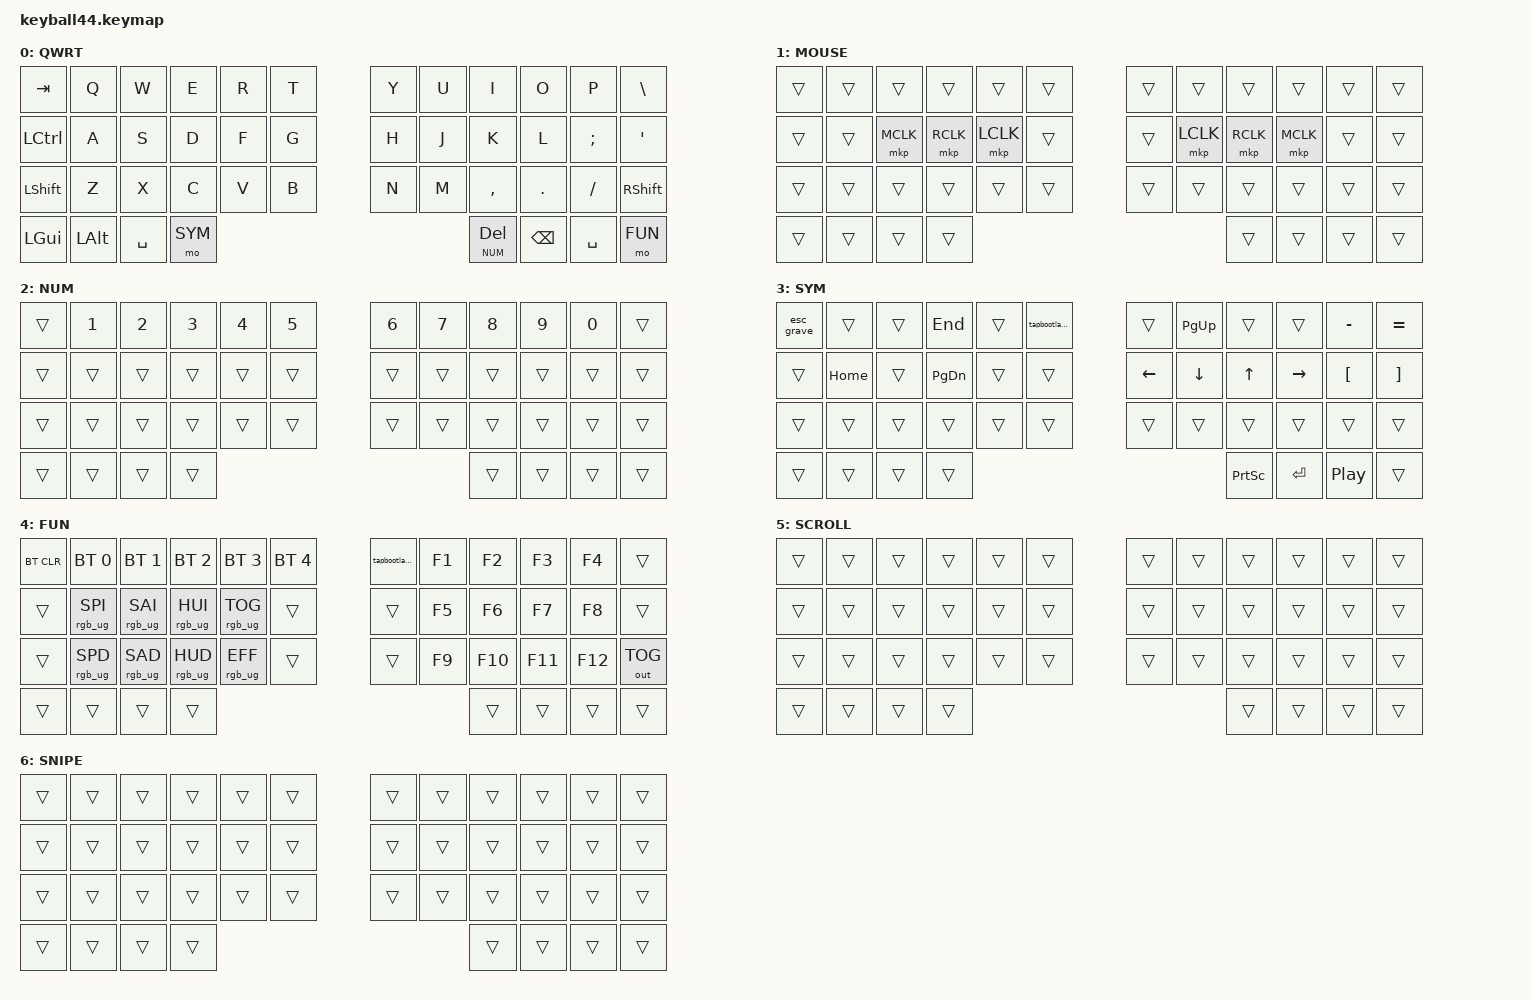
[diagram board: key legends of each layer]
#define DEFAULT 0
#define MOUSE   1
#define NUM     2
#define SYM     3
#define FUN     4
#define SCROLL  5
#define SNIPE   6

#include <behaviors/mouse_keys.dtsi>
#include <dt-bindings/zmk/mouse.h>
#include <behaviors.dtsi>
#include <dt-bindings/zmk/bt.h>
#include <dt-bindings/zmk/keys.h>
#include <dt-bindings/zmk/outputs.h>
#include <dt-bindings/zmk/pointing.h>
#include <dt-bindings/zmk/rgb.h>

&lt {
    tapping-term-ms = <240>;
    flavor = "balanced";
    quick-tap-ms = <150>;
};

&mt {
    tapping-term-ms = <200>;
    flavor = "tap-preferred";
    quick-tap-ms = <150>;
};

&caps_word { continue-list = <UNDERSCORE MINUS>; };

/ {
    // custom shift using mod-morph 

    behaviors {
        cmqus: comma_question {
            compatible = "zmk,behavior-mod-morph";
            label = "COMMA_QUESTION";
            #binding-cells = <0>;
            bindings = <&kp COMMA>, <&kp QUESTION>;

            mods = <(MOD_LSFT|MOD_RSFT)>;
        };

        dtsmi: dot_semi {
            compatible = "zmk,behavior-mod-morph";
            label = "DOT_SEMI";
            #binding-cells = <0>;
            bindings = <&kp DOT>, <&kp SEMI>;

            mods = <(MOD_LSFT|MOD_RSFT)>;
        };

        layer_dance: layer_dance {
            compatible = "zmk,behavior-tap-dance";
            label = "LAYER_DANCE";
            #binding-cells = <0>;
            bindings = <&mo SYM>, <&mo MOUSE>;

            tapping-term-ms = <100>;
        };

        esc_grave: esc_grave {
            compatible = "zmk,behavior-tap-dance";
            label = "ESC_GRAVE";
            #binding-cells = <0>;
            bindings = <&kp ESC>, <&kp GRAVE>;
        };

        tapbootlader: tapbootlader {
            compatible = "zmk,behavior-tap-dance";
            label = "TAPBOOTLADER";
            #binding-cells = <0>;
            bindings = <&none>, <&bootloader>;
        };
    };

    keymap {
        compatible = "zmk,keymap";

        default_layer {
            label = "QWRT";
            bindings = <
&kp TAB         &kp Q     &kp W      &kp E    &kp R        &kp T                     &kp Y      &kp U  &kp I      &kp O    &kp P      &kp BACKSLASH
&kp LCTRL       &kp A     &kp S      &kp D    &kp F        &kp G                     &kp H      &kp J  &kp K      &kp L    &kp SEMI   &kp SQT
&kp LEFT_SHIFT  &kp Z     &kp X      &kp C    &kp V        &kp B                     &kp N      &kp M  &kp COMMA  &kp DOT  &kp SLASH  &kp RIGHT_SHIFT
&kp LGUI        &kp LALT  &kp SPACE  &mo SYM  &lt NUM DEL             &kp BACKSPACE  &kp SPACE                                        &mo FUN
            >;
        };

        mouse_layer {
            label = "MOUSE";
            bindings = <
&trans  &trans  &trans     &trans     &trans     &trans              &trans  &trans     &trans     &trans     &trans  &trans
&trans  &trans  &mkp MCLK  &mkp RCLK  &mkp LCLK  &trans              &trans  &mkp LCLK  &mkp RCLK  &mkp MCLK  &trans  &trans
&trans  &trans  &trans     &trans     &trans     &trans              &trans  &trans     &trans     &trans     &trans  &trans
&trans  &trans  &trans     &trans     &trans                 &trans  &trans                                           &trans
            >;
        };

        number_layer {
            label = "NUM";
            bindings = <
&trans  &kp NUMBER_1  &kp NUMBER_2  &kp NUMBER_3  &kp NUMBER_4  &kp NUMBER_5              &kp NUMBER_6  &kp NUMBER_7  &kp NUMBER_8  &kp NUMBER_9  &kp NUMBER_0  &trans
&trans  &trans        &trans        &trans        &trans        &trans                    &trans        &trans        &trans        &trans        &trans        &trans
&trans  &trans        &trans        &trans        &trans        &trans                    &trans        &trans        &trans        &trans        &trans        &trans
&trans  &trans        &trans        &trans        &trans                          &trans  &trans                                                                &trans
            >;
        };

        symbol_layer {
            label = "SYM";
            bindings = <
&esc_grave  &trans    &trans  &kp END        &trans           &tapbootlader                 &trans          &kp PAGE_UP     &trans        &trans           &kp MINUS         &kp EQUAL
&trans      &kp HOME  &trans  &kp PAGE_DOWN  &trans           &trans                        &kp LEFT_ARROW  &kp DOWN_ARROW  &kp UP_ARROW  &kp RIGHT_ARROW  &kp LEFT_BRACKET  &kp RIGHT_BRACKET
&trans      &trans    &trans  &trans         &trans           &trans                        &trans          &trans          &trans        &trans           &trans            &trans
&trans      &trans    &trans  &trans         &kp PRINTSCREEN                     &kp ENTER  &kp C_PP                                                                         &trans
            >;
        };

        function_layer {
            label = "FUN";
            bindings = <
&bt BT_CLR  &bt BT_SEL 0     &bt BT_SEL 1     &bt BT_SEL 2     &bt BT_SEL 3     &bt BT_SEL 4              &tapbootlader  &kp F1  &kp F2   &kp F3   &kp F4   &trans
&trans      &rgb_ug RGB_SPI  &rgb_ug RGB_SAI  &rgb_ug RGB_HUI  &rgb_ug RGB_TOG  &trans                    &trans         &kp F5  &kp F6   &kp F7   &kp F8   &trans
&trans      &rgb_ug RGB_SPD  &rgb_ug RGB_SAD  &rgb_ug RGB_HUD  &rgb_ug RGB_EFF  &trans                    &trans         &kp F9  &kp F10  &kp F11  &kp F12  &out OUT_TOG
&trans      &trans           &trans           &trans           &trans                             &trans  &trans                                            &trans
            >;
        };

        scroll_layer {
            label = "SCROLL";
            bindings = <
&trans  &trans  &trans  &trans  &trans  &trans              &trans  &trans  &trans  &trans  &trans  &trans
&trans  &trans  &trans  &trans  &trans  &trans              &trans  &trans  &trans  &trans  &trans  &trans
&trans  &trans  &trans  &trans  &trans  &trans              &trans  &trans  &trans  &trans  &trans  &trans
&trans  &trans  &trans  &trans  &trans              &trans  &trans                                  &trans
            >;
        };

        snipe_layer {
            label = "SNIPE";
            bindings = <
&trans  &trans  &trans  &trans  &trans  &trans              &trans  &trans  &trans  &trans  &trans  &trans
&trans  &trans  &trans  &trans  &trans  &trans              &trans  &trans  &trans  &trans  &trans  &trans
&trans  &trans  &trans  &trans  &trans  &trans              &trans  &trans  &trans  &trans  &trans  &trans
&trans  &trans  &trans  &trans  &trans              &trans  &trans                                  &trans
            >;
        };
    };
};
